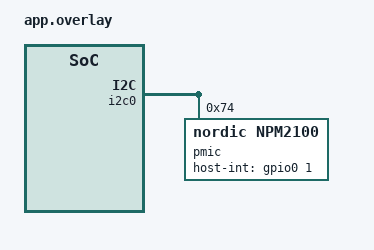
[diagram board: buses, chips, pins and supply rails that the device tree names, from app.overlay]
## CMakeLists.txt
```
# SPDX-FileCopyrightText: Copyright The Zephyr Project Contributors
# SPDX-License-Identifier: Apache-2.0

cmake_minimum_required(VERSION 3.28.0)
find_package(Zephyr REQUIRED HINTS $ENV{ZEPHYR_BASE})
project(npm2100_callbacks)

target_sources(app PRIVATE
  src/main.c
)
```

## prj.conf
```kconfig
# SPDX-FileCopyrightText: Copyright The Zephyr Project Contributors
# SPDX-License-Identifier: Apache-2.0

CONFIG_ZTEST=y
CONFIG_ZTEST_FAIL_FAST=y
CONFIG_MFD=y
CONFIG_GPIO=y
CONFIG_GPIO_EMUL=y
CONFIG_I2C=y
CONFIG_I2C_EMUL=y
CONFIG_EMUL=y
```

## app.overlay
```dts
/*
 * SPDX-FileCopyrightText: Copyright The Zephyr Project Contributors
 * SPDX-License-Identifier: Apache-2.0
 */

&i2c0 {
	status = "okay";

	pmic: pmic@74 {
		compatible = "nordic,npm2100";
		reg = <0x74>;
		host-int-gpios = <&gpio0 1 GPIO_ACTIVE_HIGH>;
		pmic-int-pin = <0>;
	};
};
```

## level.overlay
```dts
/*
 * SPDX-FileCopyrightText: Copyright The Zephyr Project Contributors
 * SPDX-License-Identifier: Apache-2.0
 */

&pmic {
	host-int-type = "level";
};
```

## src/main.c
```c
/*
 * SPDX-FileCopyrightText: Copyright The Zephyr Project Contributors
 * SPDX-License-Identifier: Apache-2.0
 */

#include <string.h>

#include <zephyr/drivers/emul.h>
#include <zephyr/drivers/gpio/gpio_emul.h>
#include <zephyr/drivers/i2c_emul.h>
#include <zephyr/drivers/mfd/npm2100.h>
#include <zephyr/kernel.h>
#include <zephyr/ztest.h>

#define EVENT_REGS 5U
#define EVENTS_CLR 0x05U
#define INTEN_SET  0x0AU

static const struct device *const pmic = DEVICE_DT_GET(DT_NODELABEL(pmic));
static const struct gpio_dt_spec irq = GPIO_DT_SPEC_GET(DT_NODELABEL(pmic), host_int_gpios);

static struct {
	uint8_t pending[EVENT_REGS];
	uint8_t enabled[EVENT_REGS];
	uint8_t after_clear[EVENT_REGS];
	uint32_t reads;
	uint32_t clears;
	bool fail_read;
	bool fail_clear;
	bool failed_clear_lands;
	bool fail_enable;
} registers;

static K_SEM_DEFINE(cleared, 0, 1);

static bool irq_pending(void)
{
	for (size_t i = 0; i < EVENT_REGS; i++) {
		if ((registers.pending[i] & registers.enabled[i]) != 0U) {
			return true;
		}
	}
	return false;
}

/* Only the event register transactions need emulation; accept the init writes. */
static int transfer(const struct emul *target, struct i2c_msg *msgs, int num_msgs, int addr)
{
	uint8_t reg;

	ARG_UNUSED(target);
	ARG_UNUSED(addr);

	if (num_msgs == 2 && msgs[0].len == 1U && msgs[0].buf[0] == 0U &&
	    msgs[1].len == EVENT_REGS && (msgs[1].flags & I2C_MSG_READ) != 0U) {
		registers.reads++;
		if (registers.fail_read) {
			registers.fail_read = false;
			return -EIO;
		}
		memcpy(msgs[1].buf, registers.pending, EVENT_REGS);
		return 0;
	}

	if (num_msgs != 1 || msgs[0].len < 2U || (msgs[0].flags & I2C_MSG_READ) != 0U) {
		return -EIO;
	}

	reg = msgs[0].buf[0];

	if (reg >= INTEN_SET && reg < INTEN_SET + EVENT_REGS && msgs[0].len == 2U) {
		if (registers.fail_enable) {
			registers.fail_enable = false;
			return -EIO;
		}
		registers.enabled[reg - INTEN_SET] |= msgs[0].buf[1];
	} else if (reg >= EVENTS_CLR && reg < EVENTS_CLR + EVENT_REGS) {
		bool dispatch_clear = msgs[0].len == EVENT_REGS + 1U;
		bool fail = dispatch_clear && registers.fail_clear;
		bool active = false;

		if (dispatch_clear) {
			registers.clears++;
			registers.fail_clear = false;
		}
		if (!fail || registers.failed_clear_lands) {
			for (size_t i = 1U; i < msgs[0].len; i++) {
				size_t offset = reg - EVENTS_CLR + i - 1U;

				if (offset >= EVENT_REGS) {
					return -EIO;
				}
				registers.pending[offset] &= ~msgs[0].buf[i];
			}
			if (dispatch_clear) {
				int ret;

				for (size_t i = 0; i < EVENT_REGS; i++) {
					registers.pending[i] |= registers.after_clear[i];
					registers.after_clear[i] = 0U;
				}
				active = irq_pending();
				ret = gpio_emul_input_set(irq.port, irq.pin, active);

				if (ret < 0) {
					return ret;
				}
			}
		}
		if (fail) {
			return -EIO;
		}
		if (dispatch_clear && !active) {
			k_sem_give(&cleared);
		}
	}

	return 0;
}

static const struct i2c_emul_api emul_api = {
	.transfer = transfer,
};

static int emul_init(const struct emul *target, const struct device *parent)
{
	ARG_UNUSED(target);
	ARG_UNUSED(parent);
	return 0;
}

EMUL_DT_DEFINE(DT_NODELABEL(pmic), emul_init, NULL, NULL, &emul_api, NULL);

struct subscriber {
	struct mfd_npm2100_event_callback cb;
	npm2100_event_t events[8];
	uint32_t calls;
	bool remove_self;
};

static struct subscriber subscribers[3];

static void handler(const struct device *dev, struct mfd_npm2100_event_callback *cb,
		    npm2100_event_t events)
{
	struct subscriber *sub = CONTAINER_OF(cb, struct subscriber, cb);

	zassert_equal_ptr(dev, pmic);
	zassert_equal_ptr(k_current_get(), k_work_queue_thread_get(&k_sys_work_q));
	zassert_not_equal(events, 0U);
	zassert_equal(events & (events - 1U), 0U, "Expected one event per call");
	zassert_equal(events & ~cb->event_mask, 0U);
	zassert_true(sub->calls < ARRAY_SIZE(sub->events));
	sub->events[sub->calls++] = events;
	if (sub->remove_self) {
		zassert_ok(mfd_npm2100_remove_callback(dev, cb));
	}
}

static void before_clear_handler(const struct device *dev, struct mfd_npm2100_event_callback *cb,
				 npm2100_event_t events)
{
	zassert_equal(registers.clears, 0U, "Events cleared before callback dispatch");
	handler(dev, cb, events);
}

static void barrier_handler(struct k_work *work)
{
	ARG_UNUSED(work);
}

static K_WORK_DEFINE(barrier, barrier_handler);

static void wait_for_dispatch(void)
{
	struct k_work_sync sync;

	zassert_ok(k_sem_take(&cleared, K_SECONDS(1)), "No successful event clear");
	/* The emulator signals before the driver work item returns. */
	zassert_true(k_work_submit(&barrier) >= 0);
	(void)k_work_flush(&barrier, &sync);
}

static void fire(uint8_t offset, uint8_t mask)
{
	registers.pending[offset] |= mask;
	zassert_ok(gpio_emul_input_set(irq.port, irq.pin, 1));
	wait_for_dispatch();
}

static void subscribe(size_t index, npm2100_event_t mask)
{
	subscribers[index].cb.handler = handler;
	subscribers[index].cb.event_mask = mask;
	zassert_ok(mfd_npm2100_add_callback(pmic, &subscribers[index].cb));
}

static void before(void *fixture)
{
	ARG_UNUSED(fixture);
	zassert_true(device_is_ready(pmic));
	zassert_true(gpio_is_ready_dt(&irq));
	memset(&registers, 0, sizeof(registers));
	memset(subscribers, 0, sizeof(subscribers));
	k_sem_reset(&cleared);
	zassert_ok(gpio_emul_input_set(irq.port, irq.pin, 0));
}

static void after(void *fixture)
{
	ARG_UNUSED(fixture);
	for (size_t i = 0; i < ARRAY_SIZE(subscribers); i++) {
		int ret = mfd_npm2100_remove_callback(pmic, &subscribers[i].cb);

		zassert_true(ret == 0 || ret == -EINVAL);
	}
}

ZTEST(npm2100, test_event_mapping_and_filtering)
{
	subscribe(0, BIT(NPM2100_EVENT_ADC_VBAT_READY) | BIT(NPM2100_EVENT_LDOSW_VINTFAIL));
	subscribe(1, BIT(NPM2100_EVENT_BOOST_VBAT_WARN));

	zassert_equal(registers.enabled[1], BIT(0));
	zassert_equal(registers.enabled[3], BIT(0));
	zassert_equal(registers.enabled[4], BIT(1));
	registers.pending[1] = BIT(0);
	registers.pending[3] = BIT(0);
	registers.pending[4] = BIT(1);
	fire(0, BIT(0)); /* This event has no subscriber. */

	zassert_equal(subscribers[0].calls, 2U);
	zassert_equal(subscribers[0].events[0], BIT(NPM2100_EVENT_ADC_VBAT_READY));
	zassert_equal(subscribers[0].events[1], BIT(NPM2100_EVENT_LDOSW_VINTFAIL));
	zassert_equal(subscribers[1].calls, 1U);
	zassert_equal(subscribers[1].events[0], BIT(NPM2100_EVENT_BOOST_VBAT_WARN));
	zassert_equal(registers.reads, 1U);
	zassert_equal(registers.clears, 1U);
}

ZTEST(npm2100, test_callbacks_precede_clear)
{
	subscribers[0].cb.event_mask =
		BIT(NPM2100_EVENT_SYS_DIETEMP_WARN) | BIT(NPM2100_EVENT_ADC_VBAT_READY);
	subscribers[1].cb.event_mask = BIT(NPM2100_EVENT_ADC_VBAT_READY);
	for (size_t i = 0; i < 2U; i++) {
		subscribers[i].cb.handler = before_clear_handler;
		zassert_ok(mfd_npm2100_add_callback(pmic, &subscribers[i].cb));
	}
	registers.pending[1] = BIT(0);
	fire(0, BIT(0));

	zassert_equal(subscribers[0].calls, 2U);
	zassert_equal(subscribers[0].events[0], BIT(NPM2100_EVENT_SYS_DIETEMP_WARN));
	zassert_equal(subscribers[0].events[1], BIT(NPM2100_EVENT_ADC_VBAT_READY));
	zassert_equal(subscribers[1].calls, 1U);
	zassert_equal(subscribers[1].events[0], BIT(NPM2100_EVENT_ADC_VBAT_READY));
	zassert_equal(registers.reads, 1U);
	zassert_equal(registers.clears, 1U);
	zassert_equal(registers.pending[0], 0U);
	zassert_equal(registers.pending[1], 0U);
}

ZTEST(npm2100, test_self_removal_preserves_next_subscriber)
{
	npm2100_event_t mask = BIT(NPM2100_EVENT_SYS_DIETEMP_WARN);

	subscribe(0, mask);
	subscribe(1, mask);
	subscribers[1].remove_self = true; /* Newest subscriber is visited first. */
	fire(0, BIT(0));
	zassert_equal(subscribers[1].calls, 1U);
	zassert_equal(subscribers[0].calls, 1U);
	fire(0, BIT(0));
	zassert_equal(subscribers[1].calls, 1U);
	zassert_equal(subscribers[0].calls, 2U);
}

ZTEST(npm2100, test_event_after_clear_is_delivered)
{
	subscribe(0, BIT(NPM2100_EVENT_SYS_DIETEMP_WARN) | BIT(NPM2100_EVENT_ADC_VBAT_READY));
	registers.after_clear[1] = BIT(0);
	fire(0, BIT(0));
	zassert_equal(subscribers[0].calls, 2U);
	zassert_equal(subscribers[0].events[0], BIT(NPM2100_EVENT_SYS_DIETEMP_WARN));
	zassert_equal(subscribers[0].events[1], BIT(NPM2100_EVENT_ADC_VBAT_READY));
	zassert_equal(registers.reads, 2U);
	zassert_equal(registers.clears, 2U);
}

ZTEST(npm2100, test_duplicate_registration)
{
	subscribe(0, BIT(NPM2100_EVENT_SYS_DIETEMP_WARN));
	zassert_ok(mfd_npm2100_add_callback(pmic, &subscribers[0].cb));
	fire(0, BIT(0));
	zassert_equal(subscribers[0].calls, 1U);
	zassert_ok(mfd_npm2100_remove_callback(pmic, &subscribers[0].cb));
	zassert_equal(mfd_npm2100_remove_callback(pmic, &subscribers[0].cb), -EINVAL);
	fire(0, BIT(0));
	zassert_equal(subscribers[0].calls, 1U);
}

ZTEST(npm2100, test_null_callback_and_handler)
{
	zassert_equal(mfd_npm2100_add_callback(pmic, NULL), -EINVAL);
	zassert_equal(mfd_npm2100_add_callback(pmic, &subscribers[0].cb), -EINVAL);
	zassert_equal(mfd_npm2100_remove_callback(pmic, NULL), -EINVAL);
}

ZTEST(npm2100, test_unmapped_mask_bits_do_not_match)
{
	subscribe(0, 0U);
	subscribe(1, BIT(31));
	fire(0, BIT(0));
	zassert_equal(subscribers[0].calls, 0U);
	zassert_equal(subscribers[1].calls, 0U);
}

ZTEST(npm2100, test_failed_reregistration_keeps_callback)
{
	subscribe(0, BIT(NPM2100_EVENT_SYS_DIETEMP_WARN));
	registers.fail_enable = true;
	zassert_equal(mfd_npm2100_add_callback(pmic, &subscribers[0].cb), -EIO);
	fire(0, BIT(0));
	zassert_equal(subscribers[0].calls, 1U);
}

ZTEST(npm2100, test_read_failure_retries)
{
	subscribe(0, BIT(NPM2100_EVENT_SYS_DIETEMP_WARN));
	registers.fail_read = true;
	fire(0, BIT(0));
	zassert_equal(registers.reads, 2U);
	zassert_equal(subscribers[0].calls, 1U);
}

ZTEST(npm2100, test_clear_failure_retries_notification)
{
	subscribe(0, BIT(NPM2100_EVENT_SYS_DIETEMP_WARN));
	registers.fail_clear = true;
	fire(0, BIT(0));
	zassert_equal(registers.clears, 2U);
	zassert_equal(subscribers[0].calls, 2U);
}

ZTEST(npm2100, test_clear_error_after_write_does_not_lose_event)
{
	subscribe(0, BIT(NPM2100_EVENT_SYS_DIETEMP_WARN));
	registers.fail_clear = true;
	registers.failed_clear_lands = true;
	fire(0, BIT(0));
	zassert_equal(registers.clears, 2U);
	zassert_equal(subscribers[0].calls, 1U);
}

ZTEST(npm2100, test_enable_failure_does_not_register_callback)
{
	subscribers[0].cb.handler = handler;
	subscribers[0].cb.event_mask = BIT(NPM2100_EVENT_SYS_DIETEMP_WARN);
	registers.fail_enable = true;
	zassert_equal(mfd_npm2100_add_callback(pmic, &subscribers[0].cb), -EIO);
	zassert_equal(mfd_npm2100_remove_callback(pmic, &subscribers[0].cb), -EINVAL);
	fire(0, BIT(0));
	zassert_equal(subscribers[0].calls, 0U);
}

ZTEST_SUITE(npm2100, NULL, NULL, before, after, NULL);
```
